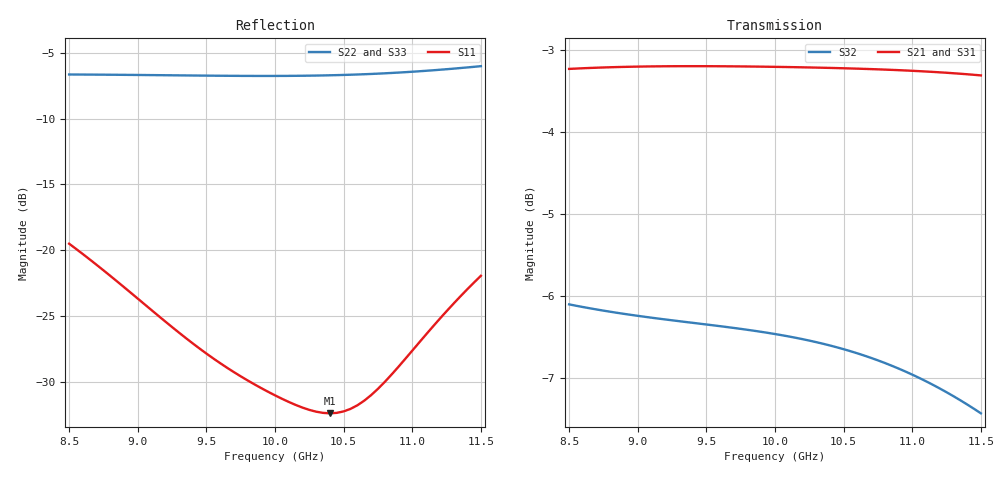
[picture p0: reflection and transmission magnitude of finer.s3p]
! yapnr rf: divider-x10, footprint re-simulated (refine 3)
! spec sha256 ebfea4ffd0e4fa7859ad9e810227fbb437c0960cb2a10d4053162c36b793aa05
! 3 ports renormalized to 50 ohm, e^(+jwt) convention
# GHz S RI R 50
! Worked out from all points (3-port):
!   61 points, 8.5 GHz to 11.5 GHz, reference 50 ohm
!   strongest paths, dB at 8.5 GHz, 9.25 GHz, 10 GHz, 10.75 GHz, 11.5 GHz:
!     S21: -3.2, -3.2, -3.2, -3.2, -3.3
!     S31: -3.2, -3.2, -3.2, -3.2, -3.3
!     S32: -6.1, -6.3, -6.5, -6.8, -7.4
!   lowest |S11| = -32.4 dB at 10.4 GHz (marker M1), VSWR 1.05, Z = 51.7 + j1.75 ohm
!   |S11| at or under -10 dB: start of sweep to end of sweep
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8.5  0.0365 0.0995  -0.5915 0.3623  -0.5915 0.3623
     -0.5882 0.3601  -0.4073 0.2249  0.4736 -0.1443
     -0.5882 0.3601  0.4736 -0.1443  -0.4073 0.2249
8.9  0.027 0.0672  -0.5125 0.4708  -0.5125 0.4708
     -0.5091 0.4682  -0.3392 0.3164  0.4005 -0.2799
     -0.5091 0.4682  0.4005 -0.2799  -0.3392 0.3164
9.3  0.0164 0.0459  -0.413 0.5616  -0.413 0.5616
     -0.4094 0.5582  -0.2413 0.3936  0.289 -0.3877
     -0.4094 0.5582  0.289 -0.3877  -0.2413 0.3936
9.65  0.0102 0.0343  -0.3124 0.6236  -0.3124 0.6236
      -0.3088 0.6195  -0.1319 0.4407  0.1667 -0.4497
      -0.3088 0.6195  0.1667 -0.4497  -0.1319 0.4407
10  0.00973 0.0264  -0.2021 0.6676  -0.2021 0.6676
    -0.1987 0.6625  -0.00429 0.4594  0.0302 -0.4739
    -0.1987 0.6625  0.0302 -0.4739  -0.00429 0.4594
10.4  0.0171 0.0169  -0.0681 0.6939  -0.0681 0.6939
      -0.0652 0.6875  0.1527 0.4361  -0.1275 -0.4496
      -0.0652 0.6875  -0.1275 -0.4496  0.1527 0.4361
10.55  0.0219 0.012  -0.0165 0.6968  -0.0165 0.6968
       -0.014 0.6899  0.211 0.4136  -0.1828 -0.426
       -0.014 0.6899  -0.1828 -0.426  0.211 0.4136
10.7  0.0275 0.00603  0.0354 0.6958  0.0354 0.6958
      0.0375 0.6884  0.2673 0.3835  -0.2343 -0.3949
      0.0375 0.6884  -0.2343 -0.3949  0.2673 0.3835
11.1  0.0446 -0.0173  0.173 0.6735  0.173 0.6735
      0.1734 0.6649  0.3986 0.2684  -0.3439 -0.2814
      0.1734 0.6649  -0.3439 -0.2814  0.3986 0.2684
11.5  0.0595 -0.0535  0.3045 0.6221  0.3045 0.6221
      0.3026 0.6127  0.4873 0.1135  -0.4012 -0.1394
      0.3026 0.6127  -0.4012 -0.1394  0.4873 0.1135
